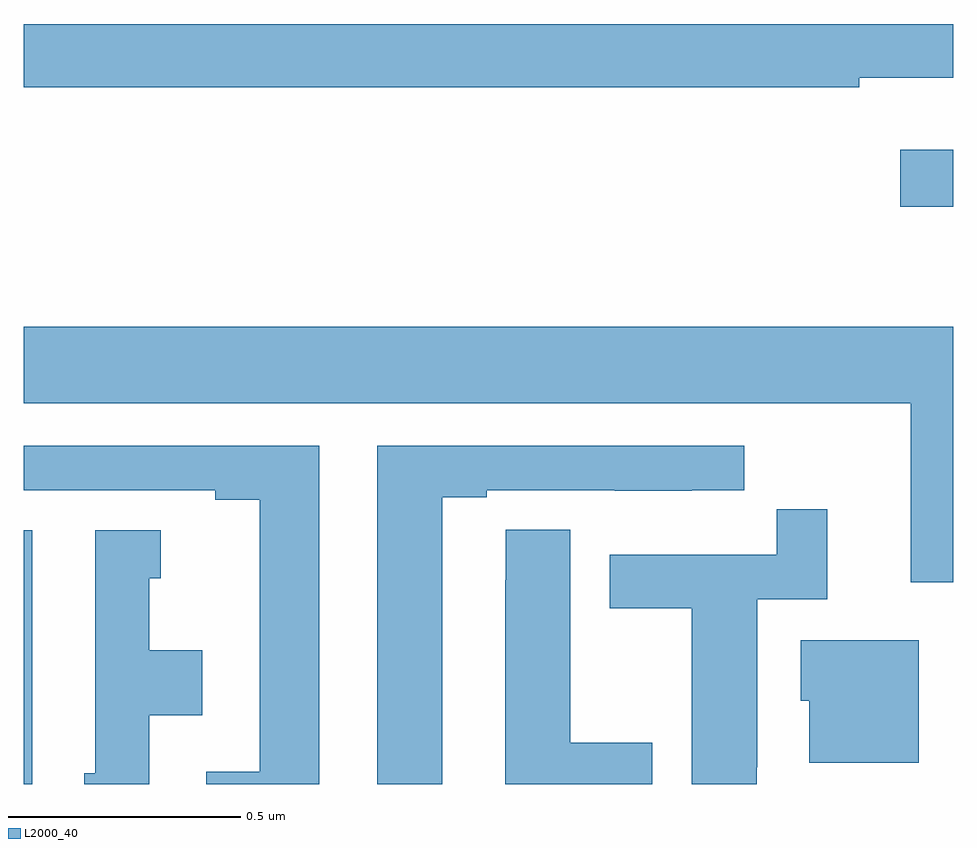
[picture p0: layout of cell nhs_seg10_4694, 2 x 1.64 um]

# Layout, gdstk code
import gdstk
lib = gdstk.Library(unit=1e-6, precision=1e-09)
def R(c, l, rs):  # rectangles x0, y0, x1, y1
    for r in rs: c.add(gdstk.rectangle(r[:2], r[2:], *l))
def P(c, l, *ps):  # polygons
    for p in ps: c.add(gdstk.Polygon(p, *l))
L2000_40 = (2000, 40)

nhs_seg10_4694 = lib.new_cell('nhs_seg10_4694')
R(nhs_seg10_4694, L2000_40, [(169,1295.5,169.018,1296.046), (170.886,1296.743,171,1296.865)])
P(nhs_seg10_4694, L2000_40, [(170.798,1297.02),(171,1297.02),(171,1297.136),(169,1297.136),(169,1297),(170.798,1297)],
  [(171,1296.484),(169,1296.484),(169,1296.32),(170.909,1296.32),(170.909,1295.934),(171,1295.934)],
  [(169.9,1296.117),(169.996,1296.117),(169.996,1296.132),(170.272,1296.132),(170.272,1296.131),(170.438,1296.131),(170.438,1296.132),(170.551,1296.132),(170.551,1296.228),(169.76,1296.228),(169.76,1295.5),(169.9,1295.5)],
  [(169.636,1296.228),(169,1296.228),(169,1296.132),(169.412,1296.132),(169.412,1296.112),(169.508,1296.112),(169.508,1295.526),(169.392,1295.526),(169.392,1295.5),(169.636,1295.5)],
  [(170.577,1295.536),(170.578,1295.536),(170.578,1295.898),(170.729,1295.898),(170.729,1296.091),(170.62,1296.091),(170.62,1295.994),(170.261,1295.994),(170.261,1295.878),(170.438,1295.878),(170.438,1295.5),(170.577,1295.5)],
  [(170.353,1295.589),(170.176,1295.589),(170.176,1296.047),(170.037,1296.047),(170.037,1295.939),(170.036,1295.939),(170.036,1295.5),(170.353,1295.5)],
  [(169.27,1295.648),(169.384,1295.648),(169.384,1295.788),(169.27,1295.788),(169.27,1295.943),(169.294,1295.943),(169.294,1296.046),(169.154,1296.046),(169.154,1295.523),(169.13,1295.523),(169.13,1295.5),(169.27,1295.5)],
  [(170.926,1295.809),(170.672,1295.809),(170.672,1295.679),(170.69,1295.679),(170.69,1295.546),(170.926,1295.546)])

lib.write_gds('nhs_seg10_4694.gds')
